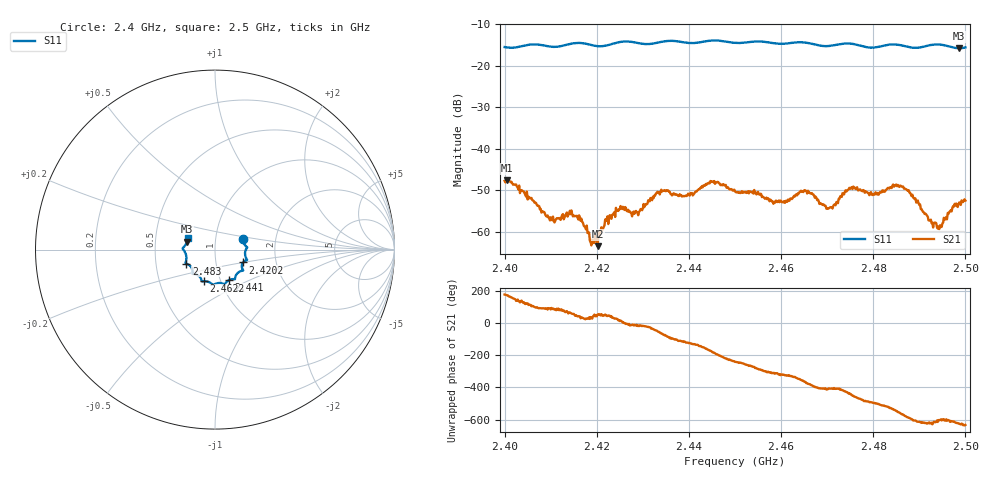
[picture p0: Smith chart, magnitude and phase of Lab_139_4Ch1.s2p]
# Hz S RI R 50
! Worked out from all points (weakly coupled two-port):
!   601 points, 2.4 GHz to 2.5 GHz, reference 50 ohm
!   highest |S21| = -47.61 dB at 2.4005 GHz (marker M1); lowest = -63.5 dB at 2.4202 GHz (marker M2)
!   lowest |S11| = -15.8 dB at 2.4987 GHz (marker M3), VSWR 1.39, Z = 36.4 + j3.32 ohm
!   |S11| at or under -10 dB: start of sweep to end of sweep
!   S12 and S22 are empty: the file has one direction only
!   S11 on the Smith chart (normalised r, x): 2.4 GHz: 1.36, +0.17; 2.4202 GHz: 1.35, -0.20; 2.441 GHz: 1.09, -0.39; 2.4622 GHz: 0.83, -0.30; 2.483 GHz: 0.72, -0.12; 2.5 GHz: 0.73, +0.09
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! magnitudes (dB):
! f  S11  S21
! 2.4 GHz  -15.5  -47.7
! 2.4005 GHz  -15.6  -47.6
! 2.4103 GHz  -15.5  -57.2
! 2.4167 GHz  -14.6  -56.8
! 2.419 GHz  -15.1  -61.9
! 2.4202 GHz  -15.3  -63.5
! 2.4247 GHz  -14.4  -55.0
! 2.4293 GHz  -14.6  -55.0
! 2.4333 GHz  -14.4  -50.6
! 2.441 GHz  -14.6  -51.0
! 2.445 GHz  -14.0  -47.9
! 2.45 GHz  -14.5  -50.2
! 2.4622 GHz  -14.5  -52.0
! 2.4667 GHz  -14.7  -50.7
! 2.4703 GHz  -15.3  -54.3
! 2.4753 GHz  -14.7  -49.2
! 2.483 GHz  -15.0  -49.7
! 2.4833 GHz  -15.0  -49.4
! 2.4873 GHz  -15.4  -50.0
! 2.4943 GHz  -14.9  -59.3
! 2.4987 GHz  -15.8  -52.9
! 2.5 GHz  -15.6  -52.5
